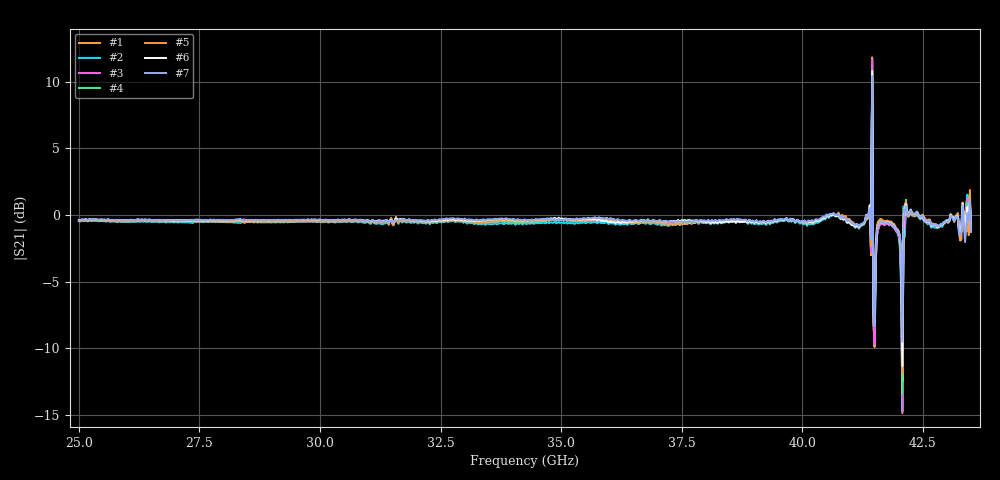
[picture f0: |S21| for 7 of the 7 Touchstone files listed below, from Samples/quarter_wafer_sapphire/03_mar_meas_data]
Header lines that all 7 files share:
!Keysight Technologies,N5224A,MY55441802,A.10.65.16
!Correction: S11(Full 2 Port(1,2))
!S21(Full 2 Port(1,2))
!S12(Full 2 Port(1,2))
!S22(Full 2 Port(1,2))
!S2P File: Measurements: S11, S21, S12, S22:
# Hz S  dB  R 50
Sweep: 25 GHz to 43.5 GHz
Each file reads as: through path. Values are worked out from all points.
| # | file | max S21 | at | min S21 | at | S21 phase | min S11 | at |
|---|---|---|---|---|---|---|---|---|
| 1 | set_04_19_5.s2p | 11.84 dB | 41.45 GHz | -14.9 dB | 42.08 GHz | 127 deg at 34.25 GHz | -46.6 dB | 41.23 GHz |
| 2 | set_07_17_5.s2p | 11.23 dB | 41.45 GHz | -14.7 dB | 42.08 GHz | 128 deg at 34.25 GHz | -59.5 dB | 42.88 GHz |
| 3 | set_07_20_5.s2p | 11.72 dB | 41.45 GHz | -14.8 dB | 42.08 GHz | 126 deg at 34.25 GHz | -36.4 dB | 43.02 GHz |
| 4 | set_07_21_5.s2p | 10.38 dB | 41.45 GHz | -13.4 dB | 42.08 GHz | 129 deg at 34.25 GHz | -59.0 dB | 37.52 GHz |
| 5 | set_07_22_5.s2p | 10.58 dB | 41.45 GHz | -11.9 dB | 42.08 GHz | 137 deg at 34.25 GHz | -46.8 dB | 40.73 GHz |
| 6 | set_07_23_5.s2p | 10.81 dB | 41.45 GHz | -11.3 dB | 42.08 GHz | 126 deg at 34.25 GHz | -45.6 dB | 34.35 GHz |
| 7 | set_07_25_5.s2p | 10.45 dB | 41.45 GHz | -9.5 dB | 42.08 GHz | 126 deg at 34.25 GHz | -60.4 dB | 32.7 GHz |
